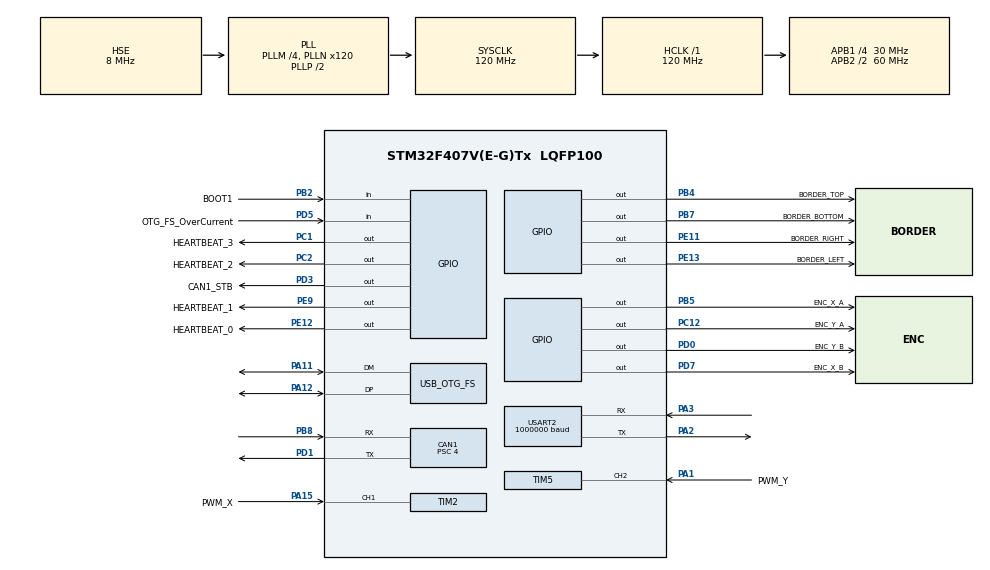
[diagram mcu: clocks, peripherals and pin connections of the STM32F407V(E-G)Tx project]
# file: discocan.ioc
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CAN1.BS1=CAN_BS1_11TQ
CAN1.BS2=CAN_BS2_3TQ
CAN1.CalculateBaudRate=499999
CAN1.CalculateTimeBit=2000
CAN1.CalculateTimeQuantum=133.33333333333334
CAN1.Prescaler=4
CAN1.SJW=CAN_SJW_1TQ
CAN1.TXFP=DISABLE
Mcu.Family=STM32F4
Mcu.Name=STM32F407V(E-G)Tx
Mcu.Package=LQFP100
NVIC.CAN1_RX0_IRQn=true\:1\:0\:true\:false\:true\:true\:true\:true
NVIC.OTG_FS_IRQn=true\:1\:0\:true\:false\:true\:true\:true\:true
NVIC.PriorityGroup=NVIC_PRIORITYGROUP_1
NVIC.TIM3_IRQn=true\:0\:0\:false\:false\:true\:true\:true\:true
PA1.GPIO_Label=PWM_Y
PA1.Signal=S_TIM5_CH2
PA11.Mode=Device_Only
PA11.Signal=USB_OTG_FS_DM
PA12.Mode=Device_Only
PA12.Signal=USB_OTG_FS_DP
PA13.GPIO_Label=SWDIO
PA13.Signal=SYS_JTMS-SWDIO
PA14.GPIO_Label=SWCLK
PA14.Signal=SYS_JTCK-SWCLK
PA15.GPIO_Label=PWM_X
PA15.Signal=S_TIM2_CH1_ETR
PA2.Mode=Asynchronous
PA2.Signal=USART2_TX
PA3.Mode=Asynchronous
PA3.Signal=USART2_RX
PB2.GPIO_Label=BOOT1
PB2.GPIO_Mode=GPIO_MODE_INPUT
PB2.GPIO_PuPd=GPIO_NOPULL
PB2.Signal=GPIO_Input
PB3.GPIO_Label=SWO
PB3.Signal=SYS_JTDO-SWO
PB4.GPIO_Label=BORDER_TOP
PB4.Signal=GPIO_Output
PB5.GPIO_Label=ENC_X_A
PB5.Signal=GPIO_Output
PB7.GPIO_Label=BORDER_BOTTOM
PB7.Signal=GPIO_Output
PB8.Mode=CAN_Activate
PB8.Signal=CAN1_RX
PC1.GPIO_Label=HEARTBEAT_3
PC1.Signal=GPIO_Output
PC12.GPIO_Label=ENC_Y_A
PC12.Signal=GPIO_Output
PC14-OSC32_IN.GPIO_Label=PC14-OSC32_IN
PC14-OSC32_IN.Mode=LSE-External-Oscillator
PC14-OSC32_IN.Signal=RCC_OSC32_IN
PC15-OSC32_OUT.GPIO_Label=PC15-OSC32_OUT
PC15-OSC32_OUT.Mode=LSE-External-Oscillator
PC15-OSC32_OUT.Signal=RCC_OSC32_OUT
PC2.GPIO_Label=HEARTBEAT_2
PC2.Signal=GPIO_Output
PD0.GPIO_Label=ENC_Y_B
PD0.Signal=GPIO_Output
PD1.Mode=CAN_Activate
PD1.Signal=CAN1_TX
PD3.GPIO_Label=CAN1_STB
PD3.Signal=GPIO_Output
PD5.GPIO_Label=OTG_FS_OverCurrent
PD5.GPIO_Mode=GPIO_MODE_INPUT
PD5.GPIO_PuPd=GPIO_NOPULL
PD5.Signal=GPIO_Input
PD7.GPIO_Label=ENC_X_B
PD7.Signal=GPIO_Output
PE11.GPIO_Label=BORDER_RIGHT
PE11.Signal=GPIO_Output
PE12.GPIO_Label=HEARTBEAT_0
PE12.Signal=GPIO_Output
PE13.GPIO_Label=BORDER_LEFT
PE13.Signal=GPIO_Output
PE9.GPIO_Label=HEARTBEAT_1
PE9.Signal=GPIO_Output
PH0-OSC_IN.GPIO_Label=PH0-OSC_IN
PH0-OSC_IN.Mode=HSE-External-Oscillator
PH0-OSC_IN.Signal=RCC_OSC_IN
PH1-OSC_OUT.GPIO_Label=PH1-OSC_OUT
PH1-OSC_OUT.Mode=HSE-External-Oscillator
PH1-OSC_OUT.Signal=RCC_OSC_OUT
ProjectManager.HeapSize=0x200
ProjectManager.StackSize=0x400
ProjectManager.TargetToolchain=CMake
RCC.48MHZClocksFreq_Value=48000000
RCC.AHBFreq_Value=120000000
RCC.APB1CLKDivider=RCC_HCLK_DIV4
RCC.APB1Freq_Value=30000000
RCC.APB1TimFreq_Value=60000000
RCC.APB2CLKDivider=RCC_HCLK_DIV2
RCC.APB2Freq_Value=60000000
RCC.APB2TimFreq_Value=120000000
RCC.CortexFreq_Value=120000000
RCC.HCLKFreq_Value=120000000
RCC.HSE_VALUE=8000000
RCC.HSI_VALUE=16000000
RCC.PLLM=4
RCC.PLLN=120
RCC.PLLQ=5
RCC.SYSCLKFreq_VALUE=120000000
RCC.SYSCLKSource=RCC_SYSCLKSOURCE_PLLCLK
RCC.VCOOutputFreq_Value=240000000
SH.S_TIM2_CH1_ETR.0=TIM2_CH1,PWM_Input_1
SH.S_TIM5_CH2.0=TIM5_CH2,PWM_Input_2
TIM3.Period=5999
TIM5.ICPolarity_1=TIM_INPUTCHANNELPOLARITY_FALLING
USART2.BaudRate=1000000
USART2.Mode=MODE_TX
USART2.VirtualMode=VM_ASYNC
USB_DEVICE.CLASS_NAME_FS=CDC
USB_DEVICE.PRODUCT_STRING_CDC_FS=DISCOCAN
USB_DEVICE.VirtualMode-CDC_FS=Cdc
USB_DEVICE.VirtualModeFS=Cdc_FS
USB_OTG_FS.VirtualMode=Device_Only
VP_CRC_VS_CRC.Mode=CRC_Activate
VP_TIM3_VS_ClockSourceINT.Mode=Internal
VP_USB_DEVICE_VS_USB_DEVICE_CDC_FS.Mode=CDC_FS
board=STM32F407G-DISC1

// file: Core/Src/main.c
/* USER CODE BEGIN Header */
/**
  ******************************************************************************
  * @file           : main.c
  * @brief          : Main program body
  ******************************************************************************
  * @attention
  *
  * Copyright (c) 2026 STMicroelectronics.
  * All rights reserved.
  *
  * This software is licensed under terms that can be found in the LICENSE file
  * in the root directory of this software component.
  * If no LICENSE file comes with this software, it is provided AS-IS.
  *
  ******************************************************************************
  */
/* USER CODE END Header */
#include "main.h"
#include "usb_device.h"

/* USER CODE BEGIN Includes */
#include "stm32f4xx_hal_pwr_ex.h"
#include "stm32f4xx_hal_uart.h"

#include "packet_handler.h"
#include "punchpress_sim.h"
#include <stdio.h>
#include <string.h>
/* USER CODE END Includes */

CAN_HandleTypeDef hcan1;

CRC_HandleTypeDef hcrc;

TIM_HandleTypeDef htim2;
TIM_HandleTypeDef htim3;
TIM_HandleTypeDef htim5;

UART_HandleTypeDef huart2;

void SystemClock_Config(void);
static void MX_GPIO_Init(void);
static void MX_CAN1_Init(void);
static void MX_USART2_UART_Init(void);
static void MX_CRC_Init(void);
static void MX_TIM2_Init(void);
static void MX_TIM5_Init(void);
static void MX_TIM3_Init(void);

/* USER CODE BEGIN 0 */
int __io_putchar(int ch)
{
  HAL_UART_Transmit(&huart2, (uint8_t *)&ch, 1, HAL_MAX_DELAY);
  return ch;
}

void HAL_TIM_PeriodElapsedCallback(TIM_HandleTypeDef *htim)
{
  if (htim->Instance == TIM3) {
    PunchPressSim_PosStep();
  }
}

/* USER CODE END 0 */

int main(void)
{

  /* MCU Configuration--------------------------------------------------------*/

  /* Reset of all peripherals, Initializes the Flash interface and the Systick. */
  HAL_Init();

  /* Configure the system clock */
  SystemClock_Config();

  /* Initialize all configured peripherals */
  MX_GPIO_Init();
  MX_CAN1_Init();
  MX_USB_DEVICE_Init();
  MX_USART2_UART_Init();
  MX_CRC_Init();
  MX_TIM2_Init();
  MX_TIM5_Init();
  MX_TIM3_Init();
  /* USER CODE BEGIN 2 */

  /* CAN1 filter: accept all standard frames */
  CAN_FilterTypeDef canFilter;
  canFilter.FilterBank = 0;
  canFilter.FilterMode = CAN_FILTERMODE_IDMASK;
  canFilter.FilterScale = CAN_FILTERSCALE_32BIT;
  canFilter.FilterIdHigh = 0;
  canFilter.FilterIdLow = 0;
  canFilter.FilterMaskIdHigh = 0;
  canFilter.FilterMaskIdLow = 0;
  canFilter.FilterFIFOAssignment = CAN_RX_FIFO0;
  canFilter.FilterActivation = ENABLE;
  canFilter.SlaveStartFilterBank = 14;
  if (HAL_CAN_ConfigFilter(&hcan1, &canFilter) != HAL_OK)
  {
    Error_Handler();
  }

  if (HAL_CAN_Start(&hcan1) != HAL_OK)
  {
    Error_Handler();
  }

  if (HAL_CAN_ActivateNotification(&hcan1, CAN_IT_RX_FIFO0_MSG_PENDING) != HAL_OK)
  {
    Error_Handler();
  }

  if (HAL_TIM_IC_Start(&htim2, TIM_CHANNEL_1) != HAL_OK ||
      HAL_TIM_IC_Start(&htim2, TIM_CHANNEL_2) != HAL_OK ||
      HAL_TIM_IC_Start(&htim5, TIM_CHANNEL_1) != HAL_OK ||
      HAL_TIM_IC_Start(&htim5, TIM_CHANNEL_2) != HAL_OK)
  {
    Error_Handler();
  }

  printf("DISCOCAN Started.\n");
  PunchPressSim_Init();
  HAL_TIM_Base_Start_IT(&htim3);
  /* USER CODE END 2 */

  /* Infinite loop */
  while (1)
  {

    /* USER CODE BEGIN 3 */
    PunchPressSim_MainStep();
  }
  /* USER CODE END 3 */
}

void SystemClock_Config(void)
{
  RCC_OscInitTypeDef RCC_OscInitStruct = {0};
  RCC_ClkInitTypeDef RCC_ClkInitStruct = {0};

  /** Configure the main internal regulator output voltage
  */
  __HAL_RCC_PWR_CLK_ENABLE();
  __HAL_PWR_VOLTAGESCALING_CONFIG(PWR_REGULATOR_VOLTAGE_SCALE1);

  /** Initializes the RCC Oscillators according to the specified parameters
  * in the RCC_OscInitTypeDef structure.
  */
  RCC_OscInitStruct.OscillatorType = RCC_OSCILLATORTYPE_HSE;
  RCC_OscInitStruct.HSEState = RCC_HSE_ON;
  RCC_OscInitStruct.PLL.PLLState = RCC_PLL_ON;
  RCC_OscInitStruct.PLL.PLLSource = RCC_PLLSOURCE_HSE;
  RCC_OscInitStruct.PLL.PLLM = 4;
  RCC_OscInitStruct.PLL.PLLN = 120;
  RCC_OscInitStruct.PLL.PLLP = RCC_PLLP_DIV2;
  RCC_OscInitStruct.PLL.PLLQ = 5;
  if (HAL_RCC_OscConfig(&RCC_OscInitStruct) != HAL_OK)
  {
    Error_Handler();
  }

  /** Initializes the CPU, AHB and APB buses clocks
  */
  RCC_ClkInitStruct.ClockType = RCC_CLOCKTYPE_HCLK|RCC_CLOCKTYPE_SYSCLK
                              |RCC_CLOCKTYPE_PCLK1|RCC_CLOCKTYPE_PCLK2;
  RCC_ClkInitStruct.SYSCLKSource = RCC_SYSCLKSOURCE_PLLCLK;
  RCC_ClkInitStruct.AHBCLKDivider = RCC_SYSCLK_DIV1;
  RCC_ClkInitStruct.APB1CLKDivider = RCC_HCLK_DIV4;
  RCC_ClkInitStruct.APB2CLKDivider = RCC_HCLK_DIV2;

  if (HAL_RCC_ClockConfig(&RCC_ClkInitStruct, FLASH_LATENCY_3) != HAL_OK)
  {
    Error_Handler();
  }
}

static void MX_CAN1_Init(void)
{

  hcan1.Instance = CAN1;
  hcan1.Init.Prescaler = 4;
  hcan1.Init.Mode = CAN_MODE_NORMAL;
  hcan1.Init.SyncJumpWidth = CAN_SJW_1TQ;
  hcan1.Init.TimeSeg1 = CAN_BS1_11TQ;
  hcan1.Init.TimeSeg2 = CAN_BS2_3TQ;
  hcan1.Init.TimeTriggeredMode = DISABLE;
  hcan1.Init.AutoBusOff = DISABLE;
  hcan1.Init.AutoWakeUp = DISABLE;
  hcan1.Init.AutoRetransmission = DISABLE;
  hcan1.Init.ReceiveFifoLocked = DISABLE;
  hcan1.Init.TransmitFifoPriority = DISABLE;
  if (HAL_CAN_Init(&hcan1) != HAL_OK)
  {
    Error_Handler();
  }

}

static void MX_CRC_Init(void)
{

  hcrc.Instance = CRC;
  if (HAL_CRC_Init(&hcrc) != HAL_OK)
  {
    Error_Handler();
  }

}

static void MX_TIM2_Init(void)
{

  TIM_SlaveConfigTypeDef sSlaveConfig = {0};
  TIM_IC_InitTypeDef sConfigIC = {0};
  TIM_MasterConfigTypeDef sMasterConfig = {0};

  htim2.Instance = TIM2;
  htim2.Init.Prescaler = 0;
  htim2.Init.CounterMode = TIM_COUNTERMODE_UP;
  htim2.Init.Period = 4294967295;
  htim2.Init.ClockDivision = TIM_CLOCKDIVISION_DIV1;
  htim2.Init.AutoReloadPreload = TIM_AUTORELOAD_PRELOAD_DISABLE;
  if (HAL_TIM_IC_Init(&htim2) != HAL_OK)
  {
    Error_Handler();
  }
  sSlaveConfig.SlaveMode = TIM_SLAVEMODE_RESET;
  sSlaveConfig.InputTrigger = TIM_TS_TI1FP1;
  sSlaveConfig.TriggerPolarity = TIM_INPUTCHANNELPOLARITY_RISING;
  sSlaveConfig.TriggerPrescaler = TIM_ICPSC_DIV1;
  sSlaveConfig.TriggerFilter = 0;
  if (HAL_TIM_SlaveConfigSynchro(&htim2, &sSlaveConfig) != HAL_OK)
  {
    Error_Handler();
  }
  sConfigIC.ICPolarity = TIM_INPUTCHANNELPOLARITY_RISING;
  sConfigIC.ICSelection = TIM_ICSELECTION_DIRECTTI;
  sConfigIC.ICPrescaler = TIM_ICPSC_DIV1;
  sConfigIC.ICFilter = 0;
  if (HAL_TIM_IC_ConfigChannel(&htim2, &sConfigIC, TIM_CHANNEL_1) != HAL_OK)
  {
    Error_Handler();
  }
  sConfigIC.ICPolarity = TIM_INPUTCHANNELPOLARITY_FALLING;
  sConfigIC.ICSelection = TIM_ICSELECTION_INDIRECTTI;
  if (HAL_TIM_IC_ConfigChannel(&htim2, &sConfigIC, TIM_CHANNEL_2) != HAL_OK)
  {
    Error_Handler();
  }
  sMasterConfig.MasterOutputTrigger = TIM_TRGO_RESET;
  sMasterConfig.MasterSlaveMode = TIM_MASTERSLAVEMODE_DISABLE;
  if (HAL_TIMEx_MasterConfigSynchronization(&htim2, &sMasterConfig) != HAL_OK)
  {
    Error_Handler();
  }

}

static void MX_TIM3_Init(void)
{

  TIM_ClockConfigTypeDef sClockSourceConfig = {0};
  TIM_MasterConfigTypeDef sMasterConfig = {0};

  htim3.Instance = TIM3;
  htim3.Init.Prescaler = 0;
  htim3.Init.CounterMode = TIM_COUNTERMODE_UP;
  htim3.Init.Period = 5999;
  htim3.Init.ClockDivision = TIM_CLOCKDIVISION_DIV1;
  htim3.Init.AutoReloadPreload = TIM_AUTORELOAD_PRELOAD_DISABLE;
  if (HAL_TIM_Base_Init(&htim3) != HAL_OK)
  {
    Error_Handler();
  }
  sClockSourceConfig.ClockSource = TIM_CLOCKSOURCE_INTERNAL;
  if (HAL_TIM_ConfigClockSource(&htim3, &sClockSourceConfig) != HAL_OK)
  {
    Error_Handler();
  }
  sMasterConfig.MasterOutputTrigger = TIM_TRGO_RESET;
  sMasterConfig.MasterSlaveMode = TIM_MASTERSLAVEMODE_DISABLE;
  if (HAL_TIMEx_MasterConfigSynchronization(&htim3, &sMasterConfig) != HAL_OK)
  {
    Error_Handler();
  }

}

static void MX_TIM5_Init(void)
{

  TIM_SlaveConfigTypeDef sSlaveConfig = {0};
  TIM_IC_InitTypeDef sConfigIC = {0};
  TIM_MasterConfigTypeDef sMasterConfig = {0};

  htim5.Instance = TIM5;
  htim5.Init.Prescaler = 0;
  htim5.Init.CounterMode = TIM_COUNTERMODE_UP;
  htim5.Init.Period = 4294967295;
  htim5.Init.ClockDivision = TIM_CLOCKDIVISION_DIV1;
  htim5.Init.AutoReloadPreload = TIM_AUTORELOAD_PRELOAD_DISABLE;
  if (HAL_TIM_IC_Init(&htim5) != HAL_OK)
  {
    Error_Handler();
  }
  sSlaveConfig.SlaveMode = TIM_SLAVEMODE_RESET;
  sSlaveConfig.InputTrigger = TIM_TS_TI2FP2;
  sSlaveConfig.TriggerPolarity = TIM_INPUTCHANNELPOLARITY_RISING;
  sSlaveConfig.TriggerPrescaler = TIM_ICPSC_DIV1;
  sSlaveConfig.TriggerFilter = 0;
  if (HAL_TIM_SlaveConfigSynchro(&htim5, &sSlaveConfig) != HAL_OK)
  {
    Error_Handler();
  }
  sConfigIC.ICPolarity = TIM_INPUTCHANNELPOLARITY_FALLING;
  sConfigIC.ICSelection = TIM_ICSELECTION_INDIRECTTI;
  sConfigIC.ICPrescaler = TIM_ICPSC_DIV1;
  sConfigIC.ICFilter = 0;
  if (HAL_TIM_IC_ConfigChannel(&htim5, &sConfigIC, TIM_CHANNEL_1) != HAL_OK)
  {
    Error_Handler();
  }
  sConfigIC.ICPolarity = TIM_INPUTCHANNELPOLARITY_RISING;
  sConfigIC.ICSelection = TIM_ICSELECTION_DIRECTTI;
  if (HAL_TIM_IC_ConfigChannel(&htim5, &sConfigIC, TIM_CHANNEL_2) != HAL_OK)
  {
    Error_Handler();
  }
  sMasterConfig.MasterOutputTrigger = TIM_TRGO_RESET;
  sMasterConfig.MasterSlaveMode = TIM_MASTERSLAVEMODE_DISABLE;
  if (HAL_TIMEx_MasterConfigSynchronization(&htim5, &sMasterConfig) != HAL_OK)
  {
    Error_Handler();
  }

}

static void MX_USART2_UART_Init(void)
{

  huart2.Instance = USART2;
  huart2.Init.BaudRate = 1000000;
  huart2.Init.WordLength = UART_WORDLENGTH_8B;
  huart2.Init.StopBits = UART_STOPBITS_1;
  huart2.Init.Parity = UART_PARITY_NONE;
  huart2.Init.Mode = UART_MODE_TX;
  huart2.Init.HwFlowCtl = UART_HWCONTROL_NONE;
  huart2.Init.OverSampling = UART_OVERSAMPLING_16;
  if (HAL_UART_Init(&huart2) != HAL_OK)
  {
    Error_Handler();
  }

}

static void MX_GPIO_Init(void)
{
  GPIO_InitTypeDef GPIO_InitStruct = {0};

  /* GPIO Ports Clock Enable */
  __HAL_RCC_GPIOE_CLK_ENABLE();
  __HAL_RCC_GPIOC_CLK_ENABLE();
  __HAL_RCC_GPIOH_CLK_ENABLE();
  __HAL_RCC_GPIOA_CLK_ENABLE();
  __HAL_RCC_GPIOB_CLK_ENABLE();
  __HAL_RCC_GPIOD_CLK_ENABLE();

  /*Configure GPIO pin Output Level */
  HAL_GPIO_WritePin(GPIOC, HEARTBEAT_3_Pin|HEARTBEAT_2_Pin|ENC_Y_A_Pin, GPIO_PIN_RESET);

  /*Configure GPIO pin Output Level */
  HAL_GPIO_WritePin(GPIOE, HEARTBEAT_1_Pin|BORDER_RIGHT_Pin|HEARTBEAT_0_Pin|BORDER_LEFT_Pin, GPIO_PIN_RESET);

  /*Configure GPIO pin Output Level */
  HAL_GPIO_WritePin(GPIOD, ENC_Y_B_Pin|CAN1_STB_Pin|ENC_X_B_Pin, GPIO_PIN_RESET);

  /*Configure GPIO pin Output Level */
  HAL_GPIO_WritePin(GPIOB, BORDER_TOP_Pin|ENC_X_A_Pin|BORDER_BOTTOM_Pin, GPIO_PIN_RESET);

  /*Configure GPIO pins : PE2 PE3 PE4 PE5
                           PE6 PE7 PE8 PE10
                           PE14 PE15 PE0 PE1 */
  GPIO_InitStruct.Pin = GPIO_PIN_2|GPIO_PIN_3|GPIO_PIN_4|GPIO_PIN_5
                          |GPIO_PIN_6|GPIO_PIN_7|GPIO_PIN_8|GPIO_PIN_10
                          |GPIO_PIN_14|GPIO_PIN_15|GPIO_PIN_0|GPIO_PIN_1;
  GPIO_InitStruct.Mode = GPIO_MODE_ANALOG;
  GPIO_InitStruct.Pull = GPIO_NOPULL;
  HAL_GPIO_Init(GPIOE, &GPIO_InitStruct);

  /*Configure GPIO pins : PC13 PC0 PC3 PC4
                           PC5 PC6 PC7 PC8
                           PC9 PC10 PC11 */
  GPIO_InitStruct.Pin = GPIO_PIN_13|GPIO_PIN_0|GPIO_PIN_3|GPIO_PIN_4
                          |GPIO_PIN_5|GPIO_PIN_6|GPIO_PIN_7|GPIO_PIN_8
                          |GPIO_PIN_9|GPIO_PIN_10|GPIO_PIN_11;
  GPIO_InitStruct.Mode = GPIO_MODE_ANALOG;
  GPIO_InitStruct.Pull = GPIO_NOPULL;
  HAL_GPIO_Init(GPIOC, &GPIO_InitStruct);

  /*Configure GPIO pins : HEARTBEAT_3_Pin HEARTBEAT_2_Pin ENC_Y_A_Pin */
  GPIO_InitStruct.Pin = HEARTBEAT_3_Pin|HEARTBEAT_2_Pin|ENC_Y_A_Pin;
  GPIO_InitStruct.Mode = GPIO_MODE_OUTPUT_PP;
  GPIO_InitStruct.Pull = GPIO_NOPULL;
  GPIO_InitStruct.Speed = GPIO_SPEED_FREQ_LOW;
  HAL_GPIO_Init(GPIOC, &GPIO_InitStruct);

  /*Configure GPIO pins : PA0 PA4 PA5 PA6
                           PA7 PA8 PA9 PA10 */
  GPIO_InitStruct.Pin = GPIO_PIN_0|GPIO_PIN_4|GPIO_PIN_5|GPIO_PIN_6
                          |GPIO_PIN_7|GPIO_PIN_8|GPIO_PIN_9|GPIO_PIN_10;
  GPIO_InitStruct.Mode = GPIO_MODE_ANALOG;
  GPIO_InitStruct.Pull = GPIO_NOPULL;
  HAL_GPIO_Init(GPIOA, &GPIO_InitStruct);

  /*Configure GPIO pins : PB0 PB1 PB10 PB11
                           PB12 PB13 PB14 PB15
                           PB6 PB9 */
  GPIO_InitStruct.Pin = GPIO_PIN_0|GPIO_PIN_1|GPIO_PIN_10|GPIO_PIN_11
                          |GPIO_PIN_12|GPIO_PIN_13|GPIO_PIN_14|GPIO_PIN_15
                          |GPIO_PIN_6|GPIO_PIN_9;
  GPIO_InitStruct.Mode = GPIO_MODE_ANALOG;
  GPIO_InitStruct.Pull = GPIO_NOPULL;
  HAL_GPIO_Init(GPIOB, &GPIO_InitStruct);

  /*Configure GPIO pin : BOOT1_Pin */
  GPIO_InitStruct.Pin = BOOT1_Pin;
  GPIO_InitStruct.Mode = GPIO_MODE_INPUT;
  GPIO_InitStruct.Pull = GPIO_NOPULL;
  HAL_GPIO_Init(BOOT1_GPIO_Port, &GPIO_InitStruct);

  /*Configure GPIO pins : HEARTBEAT_1_Pin BORDER_RIGHT_Pin HEARTBEAT_0_Pin BORDER_LEFT_Pin */
  GPIO_InitStruct.Pin = HEARTBEAT_1_Pin|BORDER_RIGHT_Pin|HEARTBEAT_0_Pin|BORDER_LEFT_Pin;
  GPIO_InitStruct.Mode = GPIO_MODE_OUTPUT_PP;
  GPIO_InitStruct.Pull = GPIO_NOPULL;
  GPIO_InitStruct.Speed = GPIO_SPEED_FREQ_LOW;
  HAL_GPIO_Init(GPIOE, &GPIO_InitStruct);

  /*Configure GPIO pins : PD8 PD9 PD10 PD11
                           PD12 PD13 PD14 PD15
                           PD2 PD4 PD6 */
  GPIO_InitStruct.Pin = GPIO_PIN_8|GPIO_PIN_9|GPIO_PIN_10|GPIO_PIN_11
                          |GPIO_PIN_12|GPIO_PIN_13|GPIO_PIN_14|GPIO_PIN_15
                          |GPIO_PIN_2|GPIO_PIN_4|GPIO_PIN_6;
  GPIO_InitStruct.Mode = GPIO_MODE_ANALOG;
  GPIO_InitStruct.Pull = GPIO_NOPULL;
  HAL_GPIO_Init(GPIOD, &GPIO_InitStruct);

  /*Configure GPIO pins : ENC_Y_B_Pin CAN1_STB_Pin ENC_X_B_Pin */
  GPIO_InitStruct.Pin = ENC_Y_B_Pin|CAN1_STB_Pin|ENC_X_B_Pin;
  GPIO_InitStruct.Mode = GPIO_MODE_OUTPUT_PP;
  GPIO_InitStruct.Pull = GPIO_NOPULL;
  GPIO_InitStruct.Speed = GPIO_SPEED_FREQ_LOW;
  HAL_GPIO_Init(GPIOD, &GPIO_InitStruct);

  /*Configure GPIO pin : OTG_FS_OverCurrent_Pin */
  GPIO_InitStruct.Pin = OTG_FS_OverCurrent_Pin;
  GPIO_InitStruct.Mode = GPIO_MODE_INPUT;
  GPIO_InitStruct.Pull = GPIO_NOPULL;
  HAL_GPIO_Init(OTG_FS_OverCurrent_GPIO_Port, &GPIO_InitStruct);

  /*Configure GPIO pins : BORDER_TOP_Pin ENC_X_A_Pin BORDER_BOTTOM_Pin */
  GPIO_InitStruct.Pin = BORDER_TOP_Pin|ENC_X_A_Pin|BORDER_BOTTOM_Pin;
  GPIO_InitStruct.Mode = GPIO_MODE_OUTPUT_PP;
  GPIO_InitStruct.Pull = GPIO_NOPULL;
  GPIO_InitStruct.Speed = GPIO_SPEED_FREQ_LOW;
  HAL_GPIO_Init(GPIOB, &GPIO_InitStruct);

}

/* USER CODE BEGIN 4 */
void HAL_CAN_RxFifo0MsgPendingCallback(CAN_HandleTypeDef *hcan)
{
  CAN_RxHeaderTypeDef rxHeader;
  CanFrame frame;

  if (HAL_CAN_GetRxMessage(hcan, CAN_RX_FIFO0, &rxHeader, frame.data) != HAL_OK)
  {
    return;
  }

  frame.arb_id = rxHeader.StdId;
  frame.dlc = rxHeader.DLC;

  /* Forward CAN frame to packet handler */
  PacketHandler_OnCanFrameReceived(&frame);
}
/* USER CODE END 4 */

void Error_Handler(void)
{
  __disable_irq();
  while (1)
  {
  }
}
